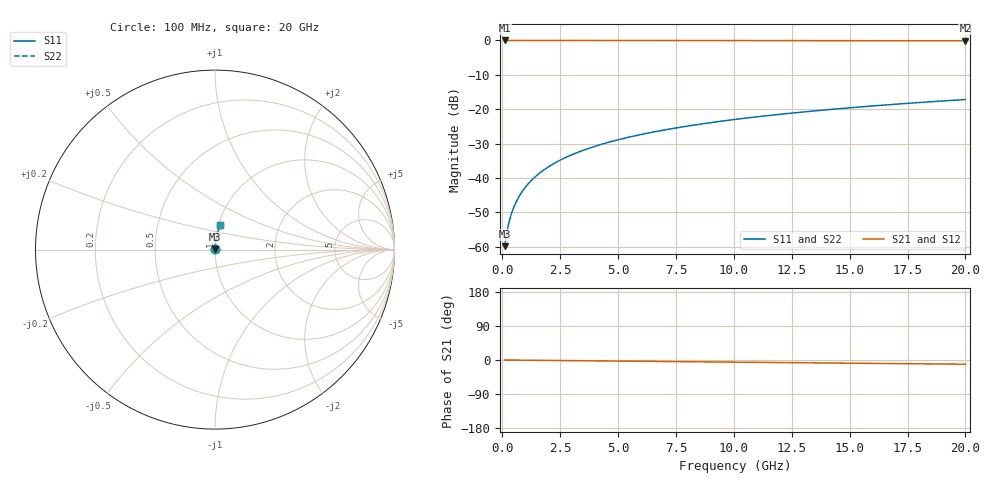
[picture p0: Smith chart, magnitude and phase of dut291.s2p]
! Touchstone file exported from HFSS 2026.1.0
!  File:  C:/ffzhzh/LocalFiles/Ansys_Project_Files/temp_train_BSMRDL_291_1782989270_45328.aedt
!  Generated:  06:49:03 PM Jul  2, 2026
!  Design:  BSMRDL
!  Project:  temp_train_BSMRDL_291_1782989270_45328
! Variables:
!  h_bsmrdl = 5.84um
!  h_ox = 20um
!  h_rdl = 5um
!  h_sub = 80um
!  h_tmrdl = 5um
!  h_tsv = 80um
!  h_via = 3um
!  l_bsmrdl = 110.71um
!  l_sub = 510.71um
!  l_tmrdl = 200um
!  m_sub = 200um
!  pitch = 46.73um
!  r_tsv = 6um
!  s_tmrdl = 10um
!  w_bsmrdl = 11.36um
!  w_sub = 500um
!  w_tmrdl = 12um
!  x_tsv_center1 = 206um
!  x_tsv_center2 = 328.07um
!  x_tsv_center3 = 540.07um
!  x_tsv_center4 = 662.14um
!  x_tsv_center5 = 874.14um
!  x_tsv_center6 = 996.21um
# GHz S MA R 50.000000
! Terminal data exported
! Port[1] = BSM_RDL1_1_T1
! Port[2] = BSM_RDL1_1_T2
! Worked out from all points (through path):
!   200 points, 100 MHz to 20 GHz, reference 50 ohm
!   highest |S21| = -0.01 dB at 100 MHz (marker M1); lowest = -0.1 dB at 20 GHz (marker M2)
!   group delay of S21, straight-line fit = 1.55 ps
!   lowest |S11| = -59.9 dB at 100 MHz (marker M3), VSWR 1.00, Z = 50.1 + j0.0751 ohm
!   |S11| at or under -10 dB: start of sweep to end of sweep
!   |S22| runs from -59.9 to -17.2 dB; largest |S21 - S12| = 3.2e-15
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0.1  0.001017 47.5  0.9993 -0.1  0.9993 -0.1  0.001017 47.5
! Gamma 0 0 0 0
! Port Impedance 50 0 50 0
0.2  0.001652 64.8  0.9993 -0.1  0.9993 -0.1  0.001652 64.8
0.3  0.002347 72.0  0.9993 -0.2  0.9993 -0.2  0.002347 72.0
0.4  0.003056 75.8  0.9993 -0.2  0.9993 -0.2  0.003056 75.8
0.5  0.003769 78.2  0.9992 -0.3  0.9992 -0.3  0.003769 78.2
0.7  0.005201 81.0  0.9992 -0.4  0.9992 -0.4  0.005201 81.0
0.8  0.005919 81.8  0.9992 -0.5  0.9992 -0.5  0.005919 81.8
1  0.007356 83.1  0.9992 -0.6  0.9992 -0.6  0.007356 83.1
1.2  0.008796 83.8  0.9991 -0.7  0.9991 -0.7  0.008796 83.8
1.4  0.01024 84.4  0.9991 -0.8  0.9991 -0.8  0.01024 84.4
1.7  0.0124 84.9  0.999 -1.0  0.999 -1.0  0.0124 84.9
2  0.01455 85.2  0.9989 -1.2  0.9989 -1.2  0.01455 85.2
2.7  0.01958 85.4  0.9988 -1.6  0.9988 -1.6  0.01958 85.4
3.5  0.02529 85.3  0.9985 -2.0  0.9985 -2.0  0.02529 85.3
4.2  0.03025 85.1  0.9982 -2.4  0.9982 -2.4  0.03025 85.1
5  0.03589 84.8  0.9979 -2.9  0.9979 -2.9  0.03589 84.8
6.8  0.04848 84.0  0.997 -3.9  0.997 -3.9  0.04848 84.0
8.3  0.05888 83.3  0.9963 -4.7  0.9963 -4.7  0.05888 83.3
10.1  0.07129 82.5  0.9952 -5.7  0.9952 -5.7  0.07129 82.5
13.4  0.09386 80.9  0.993 -7.5  0.993 -7.5  0.09386 80.9
16.7  0.1162 79.2  0.9903 -9.3  0.9903 -9.3  0.1162 79.2
20  0.1382 77.5  0.9872 -11.1  0.9872 -11.1  0.1382 77.5
